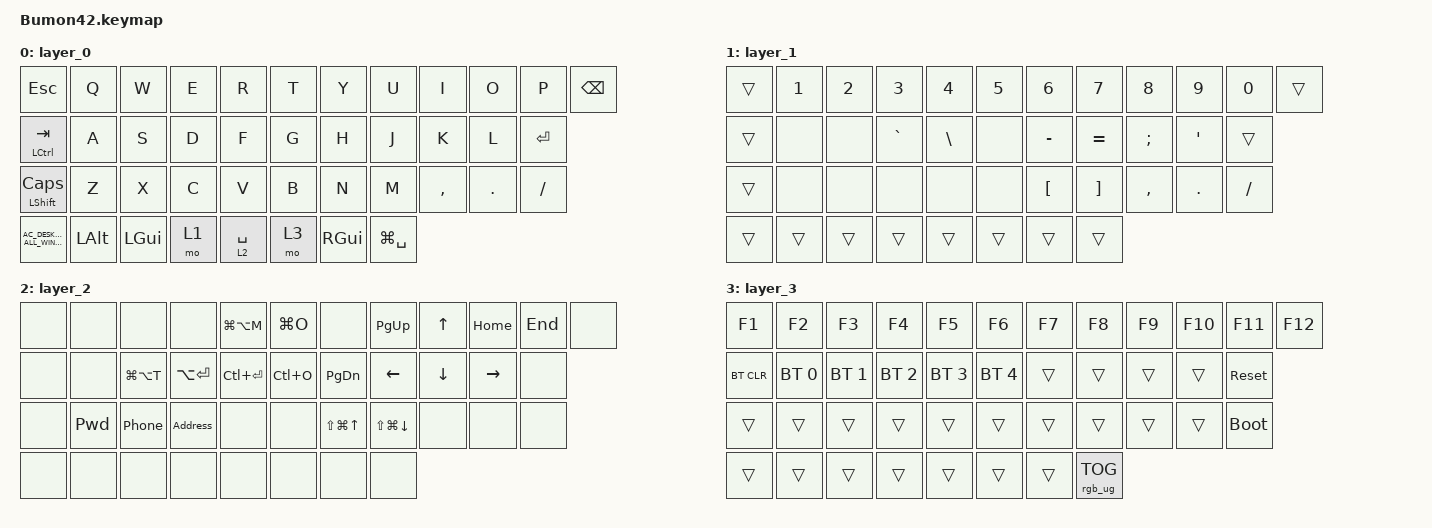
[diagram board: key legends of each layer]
#include <behaviors.dtsi>
#include <dt-bindings/zmk/bt.h>
#include <dt-bindings/zmk/keys.h>
#include <dt-bindings/zmk/rgb.h>

// changed lwr and rse

#define DEF 0
#define GAM 1
#define RSE 2
#define LWR 3
#define ADJ 4
#define FN  5

/ {
    macros {
        Phone: Phone {
            compatible = "zmk,behavior-macro";
            #binding-cells = <0>;
            bindings = <&kp N1 &kp N7 &kp N2 &kp N6 &kp N8 &kp N6 &kp N8 &kp N4 &kp N8 &kp N5 &kp N4>;
            label = "PHONE";
        };

        Pwd: Pwd {
            compatible = "zmk,behavior-macro";
            #binding-cells = <0>;
            bindings = <&kp N9 &kp N9 &kp N0 &kp N8 &kp N0 &kp N5>;
            label = "PWD";
        };

        Address: Address {
            compatible = "zmk,behavior-macro";
            #binding-cells = <0>;
            bindings = <&kp LS(A) &kp N1 &kp N2 &kp N1 &kp N0 &kp N9>;
            label = "ADDRESS";
        };
    };

    behaviors {
        Shft_caps: Shft_caps {
            compatible = "zmk,behavior-tap-dance";
            label = "SHFT_CAPS";
            #binding-cells = <0>;
            bindings = <&kp LSHFT>, <&kp CAPSLOCK>;

            tapping-term-ms = <350>;
        };

        rgb_encoder: rgb_encoder {
            compatible = "zmk,behavior-sensor-rotate";
            label = "RGB_ENCODER";
            #sensor-binding-cells = <0>;
            bindings = <&rgb_ug RGB_BRI>, <&rgb_ug RGB_BRD>;
        };
    };

    keymap {
        compatible = "zmk,keymap";

        layer_0 {
            bindings = <
&kp ESC                            &kp Q     &kp W     &kp E  &kp R        &kp T  &kp Y     &kp U          &kp I      &kp O    &kp P     &kp BSPC
&mt LCTRL TAB                      &kp A     &kp S     &kp D  &kp F        &kp G  &kp H     &kp J          &kp K      &kp L    &kp RET
&mt LSHFT CAPSLOCK                 &kp Z     &kp X     &kp C  &kp V        &kp B  &kp N     &kp M          &kp COMMA  &kp DOT  &kp FSLH
&kp C_AC_DESKTOP_SHOW_ALL_WINDOWS  &kp LALT  &kp LGUI  &mo 1  &lt 2 SPACE  &mo 3  &kp RGUI  &kp LG(SPACE)
            >;
        };

        layer_1 {
            bindings = <
&trans  &kp N1  &kp N2  &kp N3     &kp N4    &kp N5  &kp N6     &kp N7     &kp N8     &kp N9   &kp N0    &trans
&trans  &none   &none   &kp GRAVE  &kp BSLH  &none   &kp MINUS  &kp EQUAL  &kp SEMI   &kp SQT  &trans
&trans  &none   &none   &none      &none     &none   &kp LBKT   &kp RBKT   &kp COMMA  &kp DOT  &kp FSLH
&trans  &trans  &trans  &trans     &trans    &trans  &trans     &trans
            >;
        };

        layer_2 {
            bindings = <
&none  &none  &none          &none          &kp LG(LA(M))  &kp LG(O)  &none           &kp PG_UP         &kp UP    &kp HOME   &kp END  &none
&none  &none  &kp LG(LA(T))  &kp LA(ENTER)  &kp LC(ENTER)  &kp LC(O)  &kp PG_DN       &kp LEFT          &kp DOWN  &kp RIGHT  &none
&none  &Pwd   &Phone         &Address       &none          &none      &kp LS(LG(UP))  &kp LS(LG(DOWN))  &none     &none      &none
&none  &none  &none          &none          &none          &none      &none           &none
            >;
        };

        layer_3 {
            bindings = <
&kp F1      &kp F2        &kp F3        &kp F4        &kp F5        &kp F6        &kp F7  &kp F8           &kp F9  &kp F10  &kp F11      &kp F12
&bt BT_CLR  &bt BT_SEL 0  &bt BT_SEL 1  &bt BT_SEL 2  &bt BT_SEL 3  &bt BT_SEL 4  &trans  &trans           &trans  &trans   &sys_reset
&trans      &trans        &trans        &trans        &trans        &trans        &trans  &trans           &trans  &trans   &bootloader
&trans      &trans        &trans        &trans        &trans        &trans        &trans  &rgb_ug RGB_TOG
            >;
        };
    };
};
